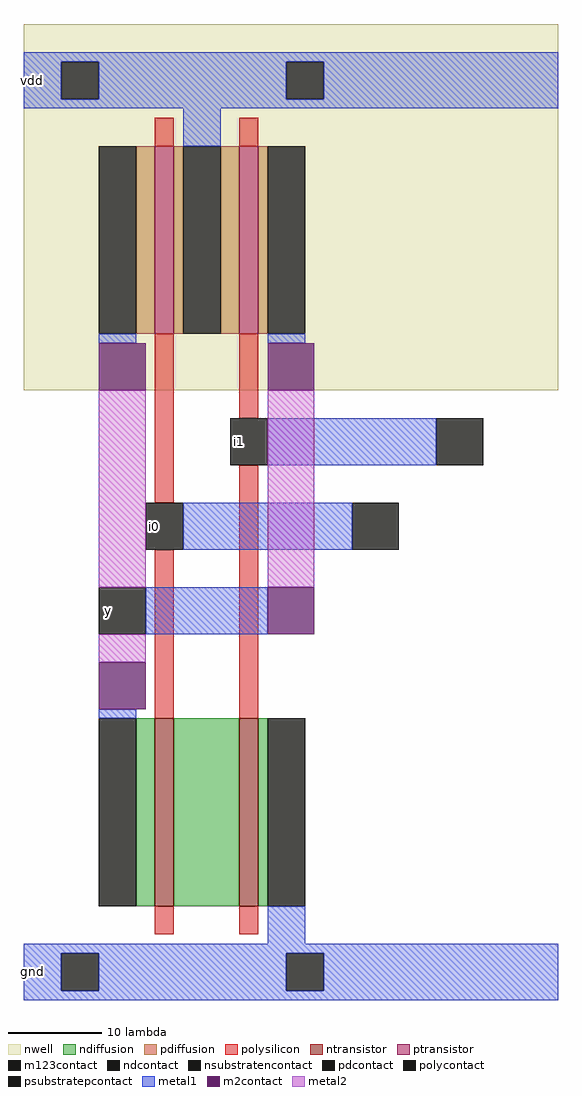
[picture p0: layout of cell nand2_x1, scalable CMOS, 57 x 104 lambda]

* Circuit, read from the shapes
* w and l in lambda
.subckt nand2_x1 i0 i1 y vdd gnd
M1 n1 i0 y gnd nfet w=20 l=2
M2 gnd i1 n1 gnd nfet w=20 l=2
M3 vdd i0 y vdd pfet w=20 l=2
M4 y i1 vdd vdd pfet w=20 l=2
.ends

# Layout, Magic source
magic
tech scmos
<< nwell >>
rect 0 65 57 104
<< ntransistor >>
rect 14 10 16 30
rect 23 10 25 30
<< ptransistor >>
rect 14 71 16 91
rect 23 71 25 91
<< ndiffusion >>
rect 12 10 14 30
rect 16 10 23 30
rect 25 10 26 30
<< pdiffusion >>
rect 12 71 14 91
rect 16 71 17 91
rect 21 71 23 91
rect 25 71 26 91
<< ndcontact >>
rect 8 10 12 30
rect 26 10 30 30
<< pdcontact >>
rect 8 71 12 91
rect 17 71 21 91
rect 26 71 30 91
<< psubstratepcontact >>
rect 4 1 8 5
rect 28 1 32 5
<< nsubstratencontact >>
rect 4 96 8 100
rect 28 96 32 100
<< polysilicon >>
rect 14 91 16 94
rect 23 91 25 94
rect 14 53 16 71
rect 23 62 25 71
rect 14 30 16 48
rect 23 30 25 57
rect 14 7 16 10
rect 23 7 25 10
<< polycontact >>
rect 22 57 26 62
rect 13 48 17 53
<< metal1 >>
rect 0 100 57 101
rect 0 96 4 100
rect 8 96 28 100
rect 32 96 57 100
rect 0 95 57 96
rect 17 91 21 95
rect 8 70 12 71
rect 26 70 30 71
rect 26 57 44 62
rect 17 48 35 53
rect 13 39 26 44
rect 8 30 12 31
rect 26 6 30 10
rect 0 5 57 6
rect 0 1 4 5
rect 8 1 28 5
rect 32 1 57 5
rect 0 0 57 1
<< m2contact >>
rect 8 65 13 70
rect 26 65 31 70
rect 26 39 31 44
rect 8 31 13 36
<< metal2 >>
rect 8 44 13 65
rect 26 44 31 65
rect 8 36 13 39
<< m123contact >>
rect 8 39 13 44
rect 44 57 49 62
rect 35 48 40 53
<< labels >>
rlabel metal1 13 48 15 53 0 i0
port 1 nsew
rlabel metal1 22 57 24 62 0 i1
port 2 nsew
rlabel metal1 8 39 10 44 0 y
port 3 nsew
rlabel metal1 0 95 2 101 0 vdd
port 4 nsew
rlabel metal1 0 0 2 6 0 gnd
port 5 nsew
<< end >>
